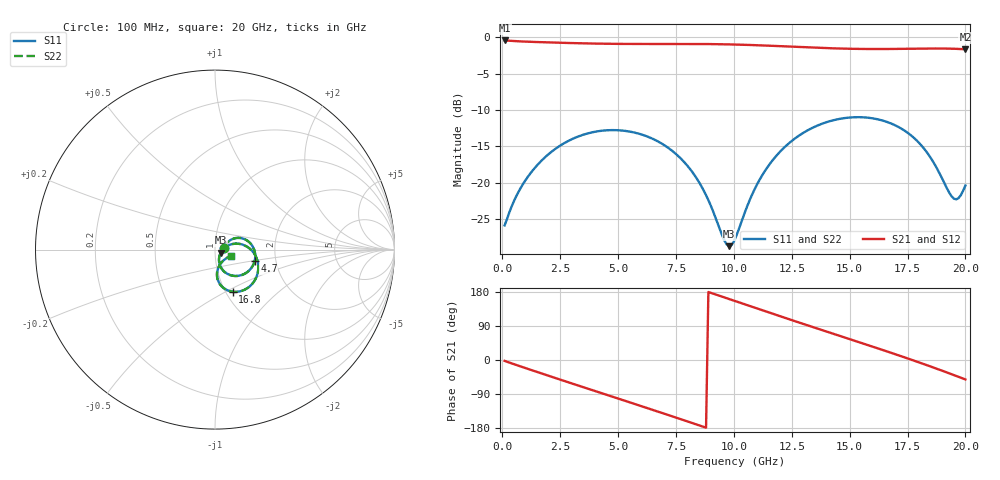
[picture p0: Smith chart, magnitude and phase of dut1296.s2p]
! Touchstone file exported from HFSS 2026.1.0
!  File:  C:/ffzhzh/LocalFiles/Ansys_Project_Files/temp_train_TSV_RDL_1296_1783332878_38704.aedt
!  Generated:  06:26:00 PM Jul  6, 2026
!  Design:  TSV_RDL
!  Project:  temp_train_TSV_RDL_1296_1783332878_38704
! Variables:
!  h_bsmrdl = 2.09um
!  h_ox = 20um
!  h_rdl = 5um
!  h_sub = 68.98um
!  h_tmrdl = 3.9um
!  h_tsv = 68.98um
!  h_via = 3um
!  l_bsmrdl = 985.58um
!  l_sub = 6727.15um
!  l_tmrdl = 816.42um
!  m_sub = 200um
!  pitch = 25.52um
!  r_tsv = 9.31um
!  s_tmrdl = 10um
!  w_bsmrdl = 13.71um
!  w_sub = 500um
!  w_tmrdl = 21.2um
!  x_tsv_center1 = 827.02um
!  x_tsv_center2 = 1826.31um
!  x_tsv_center3 = 2663.93um
!  x_tsv_center4 = 3663.22um
!  x_tsv_center5 = 4500.84um
!  x_tsv_center6 = 5500.13um
# GHz S MA R 50.000000
! Terminal data exported
! Port[1] = TM_RDL1_1_T1
! Port[2] = TM_RDL5_1_T1
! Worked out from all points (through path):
!   200 points, 100 MHz to 20 GHz, reference 50 ohm
!   highest |S21| = -0.44 dB at 100 MHz (marker M1); lowest = -1.7 dB at 20 GHz (marker M2)
!   group delay of S21, straight-line fit = 56.6 ps
!   lowest |S11| = -28.7 dB at 9.8 GHz (marker M3), VSWR 1.08, Z = 53.3 - j1.85 ohm
!   |S11| at or under -10 dB: start of sweep to end of sweep
!   |S22| runs from -28.8 to -11.0 dB; largest |S21 - S12| = 1.6e-14
!   S11 on the Smith chart (normalised r, x): 100 MHz: 1.10, +0.02; 4.7 GHz: 1.55, -0.21; 16.8 GHz: 1.08, -0.54; 20 GHz: 1.19, -0.08
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0.1  0.0508 10.9  0.9505 -2.3  0.9505 -2.3  0.0508 10.9
! Gamma 0 0 0 0
! Port Impedance 50 0 50 0
0.7  0.08637 30.9  0.9377 -15.1  0.9377 -15.1  0.08638 30.9
1.4  0.1261 29.9  0.9281 -29.5  0.9281 -29.5  0.1261 29.9
2.5  0.1798 17.9  0.9165 -51.8  0.9165 -51.8  0.1799 17.8
3.5  0.2136 3.0  0.9079 -71.8  0.9079 -71.8  0.2137 2.9
4.7  0.2297 -16.6  0.9012 -95.7  0.9012 -95.7  0.2299 -16.6
5.7  0.2211 -33.2  0.8991 -115.6  0.8991 -115.6  0.2213 -33.3
6.8  0.1891 -51.0  0.8992 -137.7  0.8992 -137.7  0.1892 -51.1
8.3  0.1127 -70.6  0.8992 -168.3  0.8992 -168.3  0.1128 -70.9
9.8  0.03655 -28.3  0.893 160.7  0.893 160.7  0.03628 -28.7
10.1  0.04275 -1.9  0.8906 154.5  0.8906 154.5  0.04244 -2.0
10.8  0.08347 17.8  0.8837 140.1  0.8837 140.1  0.08325 17.8
11.5  0.131 14.6  0.8751 125.7  0.8751 125.7  0.1308 14.6
12.4  0.1878 3.2  0.8627 107.3  0.8627 107.3  0.1877 3.1
13.4  0.2384 -12.3  0.8491 87.1  0.8491 87.1  0.2384 -12.4
15  0.2804 -38.4  0.8333 55.2  0.8333 55.2  0.2805 -38.6
16.7  0.2586 -65.6  0.8302 20.9  0.8302 20.9  0.2586 -65.8
16.8  0.2548 -67.1  0.8305 18.9  0.8305 18.9  0.2549 -67.3
18.2  0.1725 -84.3  0.8357 -10.7  0.8357 -10.7  0.1724 -84.6
19.5  0.07767 -56.2  0.8335 -39.7  0.8335 -39.7  0.07717 -56.5
19.7  0.07812 -40.6  0.8313 -44.3  0.8313 -44.3  0.07755 -40.9
20  0.09553 -21.4  0.8267 -51.3  0.8267 -51.3  0.09497 -21.5
